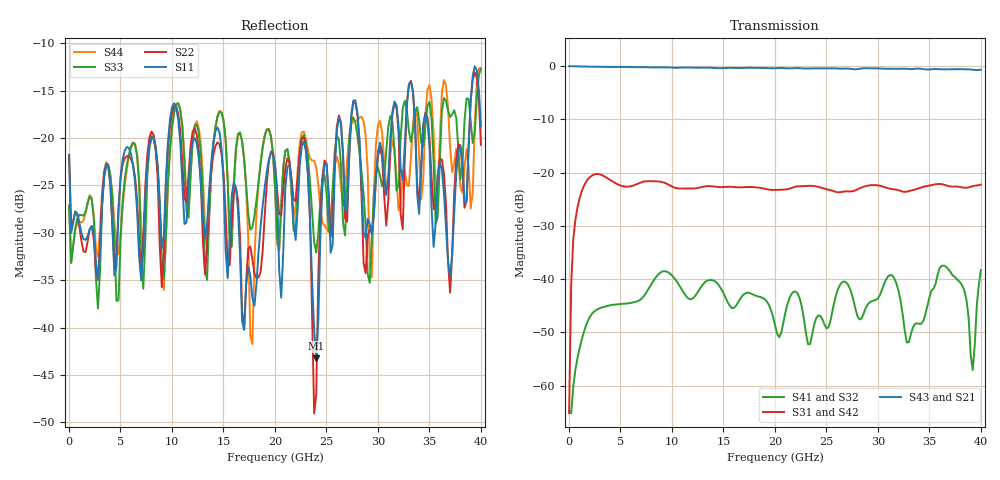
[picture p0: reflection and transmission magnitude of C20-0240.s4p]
! MARKI MICROWAVE INC.
! Email:  info@markimicrowave.com  Phone:  408-778-4200
! Model Number:  C20-0240  Date:  07/11
! Filename:		C20_0240.S4P  Version: 1.0
! Description:  4-port S-parameter data for Directional Coupler C20-0240
! Frequency Range: 	10 MHz to 40 GHz
! Port Configuration:	PORT 1: Input
!  PORT 2: Output
!  Port 3: Coupled
!  Port 4: Isolated
! S4P File: Measurements: Mag<S11> Ang<S11> Mag<S12> Ang<S12> Mag<S13> Ang<S13> Mag<S14> Ang<S14>! row 1
!  Mag<S21> Ang<S21> Mag<S22> Ang<S22> Mag<S23> Ang<S23> Mag<S24> Ang<S24>! row 2
!  Mag<S31> Ang<S31> Mag<S32> Ang<S32> Mag<S33> Ang<S33> Mag<S34> Ang<S34>! row 3
!  Mag<S41> Ang<S41> Mag<S42> Ang<S42> Mag<S43> Ang<S43> Mag<S44> Ang<S44>! row 4
# GHz S DB R 50
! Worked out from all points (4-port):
!   201 points, 10 MHz to 40 GHz, reference 50 ohm
!   strongest paths, dB at 10 MHz, 10.01 GHz, 20.01 GHz, 30.01 GHz, 40 GHz:
!     S43: 0.0, -0.3, -0.4, -0.4, -0.6
!     S21: 0.0, -0.4, -0.5, -0.5, -0.7
!     S31: -65.2, -22.6, -23.2, -22.4, -22.2
!     S42: -59.5, -22.6, -23.3, -22.4, -22.3
!     S41: -64.7, -39.3, -48.7, -43.6, -38.3
!     S32: -57.2, -39.4, -48.8, -43.7, -38.5
!   lowest |S11| = -43.3 dB at 24.01 GHz (marker M1), VSWR 1.01, Z = 50.7 + j0.2 ohm
!   |S11| at or under -10 dB: start of sweep to end of sweep
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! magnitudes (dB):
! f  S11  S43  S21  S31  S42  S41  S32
! 10 MHz  -21.8  0.0  0.0  -65.2  -59.5  -64.7  -57.2
! 410 MHz  -28.9  0.0  0.0  -32.6  -32.6  -60.3  -60.2
! 2.01 GHz  -29.6  -0.1  -0.1  -20.9  -20.9  -47.1  -47.2
! 22.81 GHz  -20.4  -0.4  -0.5  -22.5  -22.6  -47.4  -47.5
! 24.01 GHz  -43.3  -0.4  -0.5  -22.6  -22.6  -47.3  -47.4
! 26.21 GHz  -17.9  -0.4  -0.6  -23.7  -23.7  -41.5  -41.5
! 40 GHz  -18.7  -0.6  -0.7  -22.2  -22.3  -38.3  -38.5
